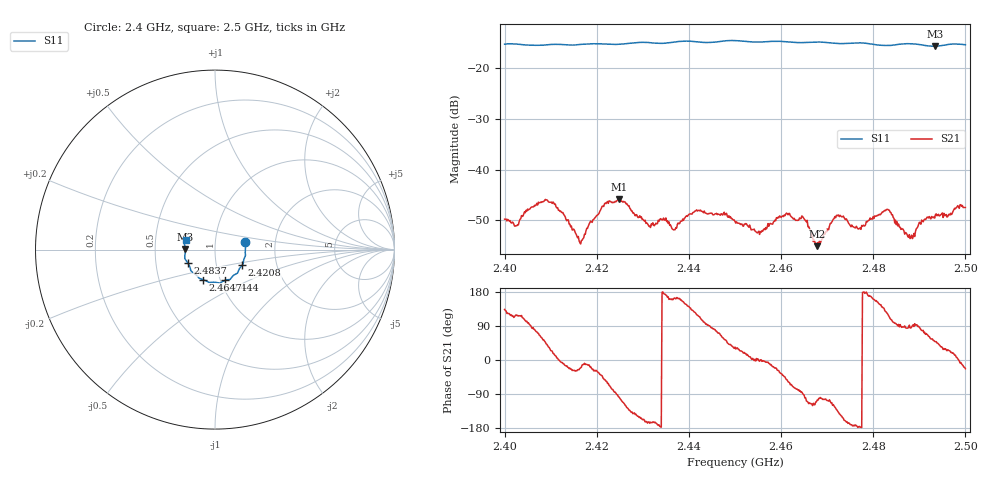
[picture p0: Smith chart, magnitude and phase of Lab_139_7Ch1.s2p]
# Hz S RI R 50
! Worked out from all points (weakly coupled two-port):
!   601 points, 2.4 GHz to 2.5 GHz, reference 50 ohm
!   highest |S21| = -45.81 dB at 2.4248 GHz (marker M1); lowest = -55.1 dB at 2.4678 GHz (marker M2)
!   lowest |S11| = -15.6 dB at 2.4933 GHz (marker M3), VSWR 1.40, Z = 35.8 + j0.0472 ohm
!   |S11| at or under -10 dB: start of sweep to end of sweep
!   S12 and S22 are empty: the file has one direction only
!   S11 on the Smith chart (normalised r, x): 2.4 GHz: 1.40, +0.12; 2.4208 GHz: 1.33, -0.24; 2.444 GHz: 1.06, -0.37; 2.4647 GHz: 0.83, -0.29; 2.4837 GHz: 0.73, -0.11; 2.5 GHz: 0.72, +0.08
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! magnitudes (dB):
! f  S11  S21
! 2.4 GHz  -15.2  -49.8
! 2.4025 GHz  -15.2  -51.1
! 2.4092 GHz  -15.4  -46.0
! 2.4167 GHz  -15.3  -54.0
! 2.4208 GHz  -15.2  -48.0
! 2.4248 GHz  -15.2  -45.8
! 2.4333 GHz  -15.0  -50.0
! 2.4368 GHz  -14.8  -51.8
! 2.444 GHz  -14.9  -48.7
! 2.45 GHz  -14.5  -50.2
! 2.4552 GHz  -14.8  -52.1
! 2.4612 GHz  -14.8  -48.6
! 2.4647 GHz  -14.9  -49.2
! 2.4667 GHz  -14.8  -53.1
! 2.4678 GHz  -14.8  -55.1
! 2.472 GHz  -15.1  -49.0
! 2.4768 GHz  -15.0  -51.7
! 2.4833 GHz  -15.5  -48.0
! 2.4837 GHz  -15.5  -48.4
! 2.488 GHz  -15.1  -53.6
! 2.4933 GHz  -15.6  -49.6
! 2.5 GHz  -15.3  -47.4
